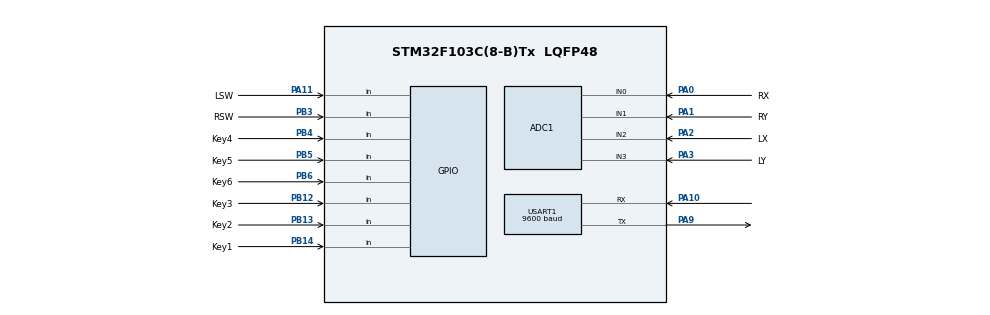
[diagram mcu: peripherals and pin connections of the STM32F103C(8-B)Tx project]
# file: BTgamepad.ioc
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ADC1.Channel-1\#ChannelRegularConversion=ADC_CHANNEL_2
ADC1.NbrOfConversionFlag=1
ADC1.Rank-1\#ChannelRegularConversion=1
ADC1.SamplingTime-1\#ChannelRegularConversion=ADC_SAMPLETIME_1CYCLE_5
ADC1.master=1
Mcu.Family=STM32F1
Mcu.Name=STM32F103C(8-B)Tx
Mcu.Package=LQFP48
NVIC.PriorityGroup=NVIC_PRIORITYGROUP_4
PA0-WKUP.GPIO_Label=RX
PA0-WKUP.Signal=ADCx_IN0
PA1.GPIO_Label=RY
PA1.Signal=ADCx_IN1
PA10.Mode=Multiprocessor_communication
PA10.Signal=USART1_RX
PA11.GPIO_Label=LSW
PA11.Signal=GPIO_Input
PA13.Mode=Serial_Wire
PA13.Signal=SYS_JTMS-SWDIO
PA14.Mode=Serial_Wire
PA14.Signal=SYS_JTCK-SWCLK
PA2.GPIO_Label=LX
PA2.Signal=ADCx_IN2
PA3.GPIO_Label=LY
PA3.Signal=ADCx_IN3
PA9.Mode=Multiprocessor_communication
PA9.Signal=USART1_TX
PB12.GPIO_Label=Key3
PB12.GPIO_PuPd=GPIO_PULLUP
PB12.Signal=GPIO_Input
PB13.GPIO_Label=Key2
PB13.GPIO_PuPd=GPIO_PULLUP
PB13.Signal=GPIO_Input
PB14.GPIO_Label=Key1
PB14.GPIO_PuPd=GPIO_PULLUP
PB14.Signal=GPIO_Input
PB3.GPIO_Label=RSW
PB3.Signal=GPIO_Input
PB4.GPIO_Label=Key4
PB4.GPIO_PuPd=GPIO_PULLUP
PB4.Signal=GPIO_Input
PB5.GPIO_Label=Key5
PB5.GPIO_PuPd=GPIO_PULLUP
PB5.Signal=GPIO_Input
PB6.GPIO_Label=Key6
PB6.GPIO_PuPd=GPIO_PULLUP
PB6.Signal=GPIO_Input
PC14-OSC32_IN.Mode=LSE-External-Oscillator
PC14-OSC32_IN.Signal=RCC_OSC32_IN
PC15-OSC32_OUT.Mode=LSE-External-Oscillator
PC15-OSC32_OUT.Signal=RCC_OSC32_OUT
PD0-OSC_IN.Mode=HSE-External-Oscillator
PD0-OSC_IN.Signal=RCC_OSC_IN
PD1-OSC_OUT.Mode=HSE-External-Oscillator
PD1-OSC_OUT.Signal=RCC_OSC_OUT
ProjectManager.HeapSize=0x200
ProjectManager.StackSize=0x400
ProjectManager.TargetToolchain=CMake
RCC.APB1Freq_Value=8000000
RCC.APB2Freq_Value=8000000
SH.ADCx_IN0.0=ADC1_IN0,IN0
SH.ADCx_IN1.0=ADC1_IN1,IN1
SH.ADCx_IN2.0=ADC1_IN2,IN2
SH.ADCx_IN3.0=ADC1_IN3,IN3
USART1.BaudRate=9600
USART1.VirtualMode=VM_ASYNC
board=custom

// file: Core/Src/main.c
/* USER CODE BEGIN Header */
/**
  ******************************************************************************
  * @file           : main.c
  * @brief          : Main program body
  ******************************************************************************
  * @attention
  *
  * Copyright (c) 2026 STMicroelectronics.
  * All rights reserved.
  *
  * This software is licensed under terms that can be found in the LICENSE file
  * in the root directory of this software component.
  * If no LICENSE file comes with this software, it is provided AS-IS.
  *
  ******************************************************************************
  */
/* USER CODE END Header */
#include "main.h"
#include "adc.h"
#include "usart.h"
#include "gpio.h"

/* USER CODE BEGIN Includes */
#include <stdio.h>
#include <string.h>
/* USER CODE END Includes */

/* USER CODE BEGIN PTD */
typedef struct {
    uint8_t l_y;  // 左Y (0上推,128中,255下拉)
    uint8_t l_x;  // 左X (0左推,128中,255右推)
    uint8_t r_y;  // 右Y
    uint8_t r_x;  // 右X
} Joystick_t;
/* USER CODE END PTD */

/* USER CODE BEGIN PD */
#define JOY_INTERVAL_MS 20    // 摇杆包发送间隔
#define BTN_DEBOUNCE_MS 20    // 按键去抖时间
#define JOY_TRIGGER_THRESH  15       // 右摇杆拉满阈值: <15 或 >240
#define JOY_TRIGGER_COOLDOWN_MS 5000 // 同一方向触发冷却 5s
#define JOY_CENTER       128        // 中位值
#define JOY_CENTER_DB    10         // 中位死区 10/255≈4%, 在[118,138]内视为中位
/* USER CODE END PD */

/* USER CODE BEGIN PV */
extern ADC_HandleTypeDef hadc1;
extern UART_HandleTypeDef huart1;

// 摇杆
static Joystick_t joy = {128, 128, 128, 128};
static uint32_t last_joy_tick = 0;

// 按键: 0=未按, 1=按下
static uint8_t  btn_state[8];       // 当前去抖后状态
static uint32_t btn_last_tick[8];   // 上次变化时间戳

// 右摇杆触发: -1=负向拉满, 0=中间, +1=正向拉满
static int8_t   rx_zone_prev = 0;
static int8_t   ry_zone_prev = 0;
static uint32_t last_trigger_tick[4]; // [0]='a',[1]='b',[2]='c',[3]='d'
/* USER CODE END PV */

void SystemClock_Config(void);
/* USER CODE BEGIN PFP */
static uint16_t ADC_Read(uint32_t channel);
static void     Joystick_Update(void);
static void     Joystick_Send(void);
static void     Joystick_Trigger_Send(void);
static void     Buttons_Scan(void);
/* USER CODE END PFP */

/* USER CODE BEGIN 0 */

// 按键GPIO: {port, pin, 按下发送指令(待填)}
static const struct {
    GPIO_TypeDef *port; uint16_t pin;
    char cmd;  // 蓝牙发送指令, 后面自己填
} btns[8] = {
    {GPIOB, Key1_Pin, '8'},  // BTN1 (PB14)--AUTO MODE
    {GPIOB, Key2_Pin, 'g'},  // BTN2 (PB13)--前伸
    {GPIOB, Key3_Pin, 'e'},  // BTN3 (PB12)--爪子张开
    {GPIOB, Key4_Pin, '9'},  // BTN4 (PB4)--MANUAL MODE
    {GPIOB, Key5_Pin, 'h'},  // BTN5 (PB5)--收回
    {GPIOB, Key6_Pin, 'f'},  // BTN6 (PB6)--爪子闭合
    {GPIOA, LSW_Pin,  '0'},  // L_SW (PA11) 左手柄按键--电机急停
    {GPIOB, RSW_Pin,  '7'},  // R_SW (PB3)  右手柄按键--机械臂复位
};

// ADC 通道: PA0~PA3 → ADC1_IN0~IN3
#define ADC_CH_LX  ADC_CHANNEL_2  // PA2 → LX → 左X → 转向
#define ADC_CH_LY  ADC_CHANNEL_3  // PA3 → LY → 左Y → 前进后退
#define ADC_CH_RX  ADC_CHANNEL_0  // PA0 → RX → 右X
#define ADC_CH_RY  ADC_CHANNEL_1  // PA1 → RY → 右Y

static uint16_t ADC_Read(uint32_t channel) {
    ADC_ChannelConfTypeDef sConfig = {0};
    sConfig.Channel = channel;
    sConfig.Rank = ADC_REGULAR_RANK_1;
    sConfig.SamplingTime = ADC_SAMPLETIME_55CYCLES_5;
    HAL_ADC_ConfigChannel(&hadc1, &sConfig);
    HAL_ADC_Start(&hadc1);
    HAL_ADC_PollForConversion(&hadc1, 10);
    uint16_t val = HAL_ADC_GetValue(&hadc1);
    HAL_ADC_Stop(&hadc1);
    return val;
}

static void Joystick_Update(void) {
    uint16_t adc;
    int16_t  val;

    // 左X (取反, 中位死区: [118,138] → 归为128)
    adc = ADC_Read(ADC_CH_LX);
    val = JOY_CENTER - (int16_t)(adc >> 4) + JOY_CENTER;  // val = 256 - (adc>>4)
    if (val < 0) val = 0; else if (val > 255) val = 255;
    if (val >= JOY_CENTER - JOY_CENTER_DB && val <= JOY_CENTER + JOY_CENTER_DB) val = JOY_CENTER;
    joy.l_x = (uint8_t)val;

    // 左Y (取反, 中位死区)
    adc = ADC_Read(ADC_CH_LY);
    val = JOY_CENTER - (int16_t)(adc >> 4) + JOY_CENTER;
    if (val < 0) val = 0; else if (val > 255) val = 255;
    if (val >= JOY_CENTER - JOY_CENTER_DB && val <= JOY_CENTER + JOY_CENTER_DB) val = JOY_CENTER;
    joy.l_y = (uint8_t)val;

    // 右X
    adc = ADC_Read(ADC_CH_RX);
    val = (int16_t)(adc >> 4);  // 不取反, val = adc>>4 直接
    if (val < 0) val = 0; else if (val > 255) val = 255;
    if (val >= JOY_CENTER - JOY_CENTER_DB && val <= JOY_CENTER + JOY_CENTER_DB) val = JOY_CENTER;
    joy.r_x = (uint8_t)val;

    // 右Y
    adc = ADC_Read(ADC_CH_RY);
    val = (int16_t)(adc >> 4);
    if (val < 0) val = 0; else if (val > 255) val = 255;
    if (val >= JOY_CENTER - JOY_CENTER_DB && val <= JOY_CENTER + JOY_CENTER_DB) val = JOY_CENTER;
    joy.r_y = (uint8_t)val;
}

// 协议: [0xBB, l_y, l_x, 0xEE] 匹配 H7 bluetooth.c 解析
// 仅左摇杆: 左Y(前进后退) + 左X(转向)
// 全部在中位时不发送; 任意轴偏离中位则恢复20ms持续发送
static void Joystick_Send(void) {
    if (joy.l_y == JOY_CENTER && joy.l_x == JOY_CENTER) {
        return;  // 左摇杆中位, 静默
    }
    uint8_t buf[4];
    buf[0] = 0xBB;
    buf[1] = joy.l_y;
    buf[2] = joy.l_x;
    buf[3] = 0xEE;
    HAL_UART_Transmit(&huart1, buf, 4, 10);
}

// 右摇杆四向触发:
//   RX左(c)/RX右(d): 偏离中位时每20ms持续发送, 中位死区[118,138]停发
//   RY上(b)/RY下(a): 边缘触发 + 5s冷却 (保持不变)
static void Joystick_Trigger_Send(void) {
    uint32_t now = HAL_GetTick();

    int8_t rx_zone, ry_zone;
    if      (joy.r_x < JOY_TRIGGER_THRESH)           rx_zone = -1;
    else if (joy.r_x > 255 - JOY_TRIGGER_THRESH)     rx_zone = +1;
    else                                             rx_zone =  0;

    if      (joy.r_y < JOY_TRIGGER_THRESH)           ry_zone = -1;
    else if (joy.r_y > 255 - JOY_TRIGGER_THRESH)     ry_zone = +1;
    else                                             ry_zone =  0;

    // ---- c/d: 持续发送, 只要偏离中位就发, 无冷却 ----
    if (joy.r_x != JOY_CENTER) {
        if (rx_zone == -1) {
            uint8_t c = 'c'; HAL_UART_Transmit(&huart1, &c, 1, 10);
        } else if (rx_zone == +1) {
            uint8_t c = 'd'; HAL_UART_Transmit(&huart1, &c, 1, 10);
        }
    }

    // ---- a/b: 边缘触发 + 5s冷却 (保持不变) ----
    if (ry_zone == -1 && ry_zone_prev != -1 &&
        (now - last_trigger_tick[0] >= JOY_TRIGGER_COOLDOWN_MS)) {
        uint8_t c = 'b'; HAL_UART_Transmit(&huart1, &c, 1, 10);
        last_trigger_tick[0] = now;
        HAL_Delay(2);
    }
    if (ry_zone == +1 && ry_zone_prev != +1 &&
        (now - last_trigger_tick[1] >= JOY_TRIGGER_COOLDOWN_MS)) {
        uint8_t c = 'a'; HAL_UART_Transmit(&huart1, &c, 1, 10);
        last_trigger_tick[1] = now;
        HAL_Delay(2);
    }

    rx_zone_prev = rx_zone;
    ry_zone_prev = ry_zone;
}

static void Buttons_Scan(void) {
    uint32_t now = HAL_GetTick();
    for (int i = 0; i < 8; i++) {
        // 有上拉, 按下=低电平
        uint8_t raw = (HAL_GPIO_ReadPin(btns[i].port, btns[i].pin) == GPIO_PIN_RESET) ? 1 : 0;
        if (raw != btn_state[i] && (now - btn_last_tick[i] >= BTN_DEBOUNCE_MS)) {
            btn_state[i] = raw;
            btn_last_tick[i] = now;
            if (raw && btns[i].cmd != ' ') {
                // 按下时发送指令 (cmd != ' ' 才发)
                uint8_t c = (uint8_t)btns[i].cmd;
                HAL_UART_Transmit(&huart1, &c, 1, 10);
            }
        }
    }
}
/* USER CODE END 0 */

int main(void)
{

  /* MCU Configuration--------------------------------------------------------*/

  /* Reset of all peripherals, Initializes the Flash interface and the Systick. */
  HAL_Init();

  /* Configure the system clock */
  SystemClock_Config();

  /* Initialize all configured peripherals */
  MX_GPIO_Init();
  MX_ADC1_Init();
  MX_USART1_UART_Init();

  /* Infinite loop */
  /* USER CODE BEGIN WHILE */
  while (1)
  {
    uint32_t now = HAL_GetTick();

    // ---- 摇杆: 20ms 采集+发送 ----
    if (now - last_joy_tick >= JOY_INTERVAL_MS) {
        last_joy_tick = now;
        Joystick_Update();
        Joystick_Send();
        HAL_Delay(2);  // 间隔确保蓝牙模块分包, 避免合并 Joystick_Trigger_Send
        Joystick_Trigger_Send();
        HAL_Delay(2);  // 间隔确保蓝牙模块分包, 避免合并 Buttons_Scan
    }

    // ---- 按键扫描 ----
    Buttons_Scan();
    /* USER CODE END WHILE */

  }
}

void SystemClock_Config(void)
{
  RCC_OscInitTypeDef RCC_OscInitStruct = {0};
  RCC_ClkInitTypeDef RCC_ClkInitStruct = {0};
  RCC_PeriphCLKInitTypeDef PeriphClkInit = {0};

  /** Initializes the RCC Oscillators according to the specified parameters
  * in the RCC_OscInitTypeDef structure.
  */
  RCC_OscInitStruct.OscillatorType = RCC_OSCILLATORTYPE_HSI;
  RCC_OscInitStruct.HSIState = RCC_HSI_ON;
  RCC_OscInitStruct.HSICalibrationValue = RCC_HSICALIBRATION_DEFAULT;
  RCC_OscInitStruct.PLL.PLLState = RCC_PLL_NONE;
  if (HAL_RCC_OscConfig(&RCC_OscInitStruct) != HAL_OK)
  {
    Error_Handler();
  }

  /** Initializes the CPU, AHB and APB buses clocks
  */
  RCC_ClkInitStruct.ClockType = RCC_CLOCKTYPE_HCLK|RCC_CLOCKTYPE_SYSCLK
                              |RCC_CLOCKTYPE_PCLK1|RCC_CLOCKTYPE_PCLK2;
  RCC_ClkInitStruct.SYSCLKSource = RCC_SYSCLKSOURCE_HSI;
  RCC_ClkInitStruct.AHBCLKDivider = RCC_SYSCLK_DIV1;
  RCC_ClkInitStruct.APB1CLKDivider = RCC_HCLK_DIV1;
  RCC_ClkInitStruct.APB2CLKDivider = RCC_HCLK_DIV1;

  if (HAL_RCC_ClockConfig(&RCC_ClkInitStruct, FLASH_LATENCY_0) != HAL_OK)
  {
    Error_Handler();
  }
  PeriphClkInit.PeriphClockSelection = RCC_PERIPHCLK_ADC;
  PeriphClkInit.AdcClockSelection = RCC_ADCPCLK2_DIV2;
  if (HAL_RCCEx_PeriphCLKConfig(&PeriphClkInit) != HAL_OK)
  {
    Error_Handler();
  }
}

void Error_Handler(void)
{
  __disable_irq();
  while (1)
  {
  }
}
